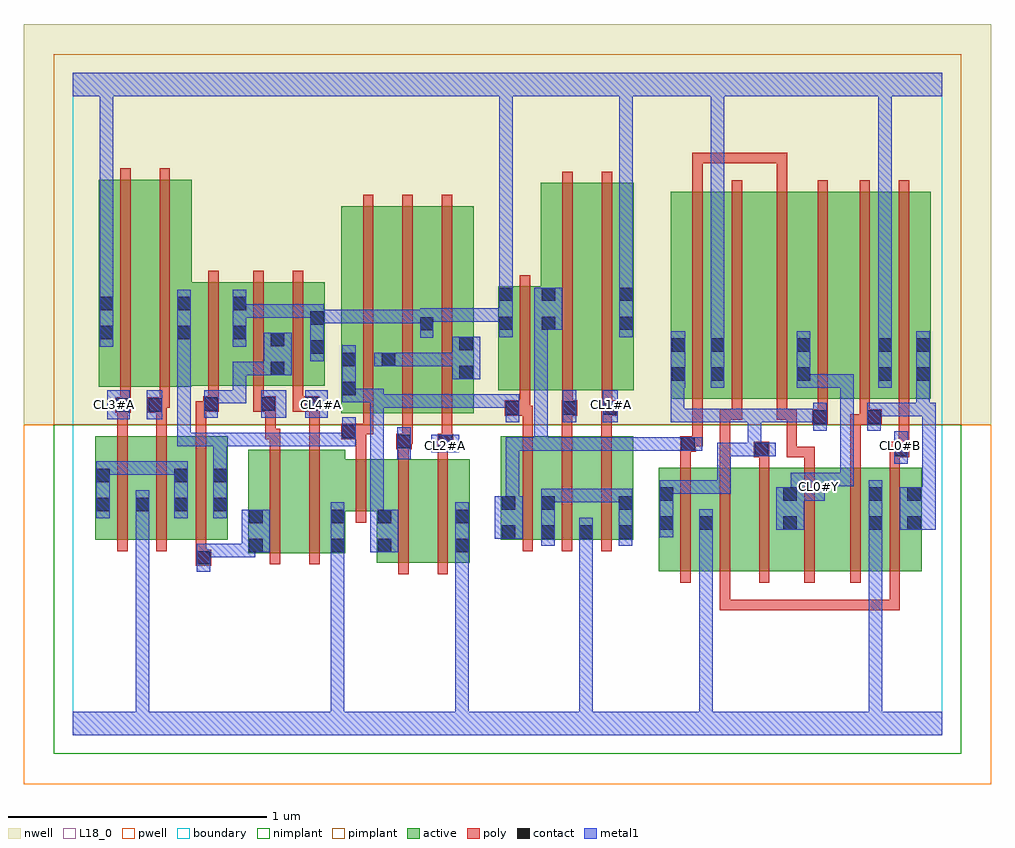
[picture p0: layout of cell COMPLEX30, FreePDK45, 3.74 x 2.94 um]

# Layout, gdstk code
import gdstk
lib = gdstk.Library(unit=1e-6, precision=1e-09)
def R(c, l, rs):  # rectangles x0, y0, x1, y1
    for r in rs: c.add(gdstk.rectangle(r[:2], r[2:], *l))
def A(c, l, x, y, w, h, nx, ny, dx, dy):  # array of equal rectangles
    R(c, l, [(x+i*dx, y+j*dy, x+i*dx+w, y+j*dy+h) for i in range(nx) for j in range(ny)])
active = (1, 0)
pwell = (2, 0)
nwell = (3, 0)
nimplant = (4, 0)
pimplant = (5, 0)
poly = (9, 0)
contact = (10, 0)
metal1 = (11, 0)
L18_0 = (18, 0)
boundary = (235, 0)

complex30 = lib.new_cell('COMPLEX30')
R(complex30, active, [(2.264,0.634,2.476,1.034), (2.416,0.634,2.596,1.034), (2.596,0.634,2.802,1.034), (2.742,0.634,2.948,1.034), (2.948,0.634,3.132,1.034), (3.072,0.634,3.28,1.034), (3.072,0.634,3.132,0.962), (3.22,0.634,3.28,1.034), (1.174,0.666,1.354,1.066), (1.354,0.666,1.534,1.066), (0.678,0.704,0.738,1.104), (0.678,0.704,0.858,1.104), (0.858,0.704,1.054,1.104), (0.994,0.704,1.054,0.876), (1.174,0.704,1.234,0.876), (1.474,0.704,1.534,1.066), (0.088,0.756,0.148,1.156), (0.088,0.756,0.3,1.156), (0.24,0.756,0.3,1.156), (0.24,0.756,0.448,1.156), (0.388,0.756,0.448,1.156), (0.388,0.756,0.6,1.156), (0.54,0.756,0.6,1.156), (1.654,0.756,1.714,1.156), (1.654,0.756,1.866,1.156), (1.806,0.756,2.014,1.156), (1.806,0.756,1.866,0.928), (1.954,0.756,2.014,1.156), (1.954,0.756,2.166,1.156), (2.106,0.756,2.166,1.156), (2.264,0.756,2.324,1.034), (2.416,0.756,2.476,0.85), (2.742,0.756,2.802,0.962), (0.994,0.866,1.234,1.066), (1.038,1.244,1.25,2.044), (1.038,1.244,1.098,2.044), (1.19,1.244,1.398,2.044), (1.19,1.244,1.25,2.044), (1.338,1.244,1.55,2.044), (1.338,1.244,1.398,2.044), (1.49,1.244,1.55,2.044), (2.31,1.3,2.37,2.044), (2.31,1.3,2.522,2.1), (2.462,1.3,2.522,2.044), (2.462,1.3,2.642,2.1), (2.642,1.3,2.854,2.1), (2.794,1.3,2.854,2.044), (2.794,1.3,2.984,2.1), (2.984,1.3,3.168,2.1), (3.108,1.3,3.168,2.044), (3.108,1.3,3.316,2.1), (3.256,1.3,3.316,2.044), (1.644,1.334,1.704,1.734), (1.644,1.334,1.868,1.734), (1.808,1.334,1.868,1.734), (1.808,1.334,1.988,2.134), (1.988,1.334,2.168,2.134), (2.108,1.334,2.168,2.044), (0.1,1.346,0.28,2.146), (0.1,1.346,0.16,2.044), (0.28,1.346,0.46,2.146), (0.4,1.35,0.674,1.75), (0.614,1.35,0.822,1.75), (0.614,1.35,0.674,1.698), (0.762,1.35,0.974,1.75), (0.914,1.35,0.974,1.644), (0.762,1.388,0.822,1.644), (0.4,1.526,0.46,1.698)])
R(complex30, pwell, [(-0.188,-0.188,3.548,1.2)])
R(complex30, nwell, [(-0.188,1.2,3.548,2.748)])
R(complex30, nimplant, [(-0.072,-0.072,3.432,1.2)])
R(complex30, pimplant, [(-0.072,1.2,3.432,2.632)])
A(complex30, poly, 2.348, 0.59, 0.04, 0.488, 3, 1, 0.152, 0)
A(complex30, poly, 0.172, 0.712, 0.04, 0.488, 3, 1, 0.152, 0)
A(complex30, poly, 1.738, 0.712, 0.04, 0.488, 3, 1, 0.152, 0)
A(complex30, poly, 1.738, 1.16, 0.04, 0.114, 3, 1, 0.152, 0)
A(complex30, poly, 1.122, 1.2, 0.04, 0.888, 3, 1, 0.152, 0)
R(complex30, poly, [(2.5,0.484,2.54,0.524), (2.5,0.484,2.54,0.524), (2.5,0.484,2.54,0.524), (2.5,0.484,2.54,0.63), (2.5,0.484,2.692,0.524), (2.652,0.484,2.692,0.524), (2.652,0.484,2.692,0.524), (2.652,0.484,2.692,0.524), (2.652,0.484,2.904,0.524), (2.864,0.484,2.904,0.524), (2.864,0.484,2.904,0.524), (2.864,0.484,2.904,0.524), (2.864,0.484,3.01,0.524), (2.97,0.484,3.01,0.524), (2.97,0.484,3.196,0.524), (3.156,0.484,3.196,0.524), (3.156,0.484,3.196,0.524), (3.156,0.484,3.196,0.524), (3.156,0.484,3.196,0.63), (2.826,0.59,2.866,1.078), (3.004,0.59,3.044,1.078), (3.156,0.59,3.196,1.078), (1.258,0.622,1.298,1.11), (1.41,0.622,1.45,1.11), (0.476,0.656,0.536,0.716), (0.762,0.66,0.802,1.148), (0.914,0.66,0.954,1.148), (0.476,0.676,0.516,0.752), (1.094,0.822,1.134,1.11), (2.348,1.038,2.388,1.136), (2.5,1.038,2.54,1.26), (2.652,1.038,2.692,1.114), (2.826,1.038,2.866,1.114), (3.004,1.038,3.044,1.24), (3.156,1.038,3.196,1.114), (1.094,1.07,1.134,1.184), (1.258,1.07,1.298,1.146), (1.41,1.07,1.45,1.146), (2.632,1.074,2.692,1.134), (2.758,1.074,2.798,1.114), (2.758,1.074,2.866,1.114), (2.758,1.074,2.798,1.26), (2.826,1.074,2.866,1.114), (3.156,1.074,3.232,1.134), (3.192,1.094,3.232,1.296), (3.192,1.094,3.232,1.134), (3.192,1.094,3.232,1.134), (2.348,1.096,2.408,1.156), (1.25,1.106,1.31,1.166), (1.41,1.106,1.47,1.166), (0.762,1.108,0.802,1.184), (0.914,1.108,0.954,1.29), (2.368,1.116,2.408,1.156), (2.368,1.116,2.434,1.156), (2.394,1.116,2.434,1.296), (1.27,1.126,1.31,1.166), (1.27,1.126,1.314,1.166), (1.274,1.126,1.314,1.24), (1.426,1.126,1.466,1.166), (1.426,1.126,1.466,1.166), (1.426,1.126,1.466,1.24), (0.744,1.144,0.784,1.29), (0.744,1.144,0.802,1.184), (1.038,1.144,1.134,1.204), (0.172,1.16,0.212,1.286), (0.324,1.16,0.364,1.286), (0.476,1.16,0.516,1.29), (1.094,1.164,1.134,1.204), (1.094,1.164,1.162,1.204), (1.122,1.164,1.162,1.24), (2.858,1.2,2.918,1.26), (3.004,1.2,3.08,1.24), (3.04,1.2,3.08,1.24), (3.04,1.2,3.126,1.26), (2.5,1.22,2.566,1.26), (2.526,1.22,2.566,1.26), (2.526,1.22,2.586,1.26), (2.546,1.22,2.586,1.296), (2.72,1.22,2.76,1.26), (2.72,1.22,2.76,1.296), (2.72,1.22,2.798,1.26), (2.758,1.22,2.798,1.26), (2.878,1.22,2.918,1.296), (3.04,1.22,3.08,1.296), (1.67,1.234,1.768,1.294), (1.728,1.234,1.768,1.274), (1.728,1.234,1.778,1.274), (1.89,1.234,1.93,1.274), (1.89,1.234,1.93,1.274), (1.89,1.234,1.95,1.294), (2.042,1.234,2.084,1.274), (2.044,1.234,2.084,1.274), (2.044,1.234,2.104,1.294), (0.164,1.246,0.224,1.306), (0.29,1.246,0.364,1.306), (0.476,1.25,0.544,1.29), (0.504,1.25,0.544,1.29), (0.504,1.25,0.564,1.31), (0.698,1.25,0.784,1.31), (0.85,1.25,0.954,1.31), (0.914,1.25,0.954,1.29), (0.914,1.25,0.954,1.29), (1.728,1.254,1.768,1.33), (1.892,1.254,1.932,1.33), (2.044,1.254,2.084,1.33), (2.394,1.256,2.434,2.144), (2.546,1.256,2.586,2.144), (2.72,1.256,2.76,2.144), (2.878,1.256,2.918,2.144), (3.04,1.256,3.08,2.144), (3.192,1.256,3.232,2.144), (0.184,1.266,0.224,1.306), (0.184,1.266,0.224,1.306), (0.184,1.266,0.224,1.342), (0.324,1.266,0.364,1.306), (0.324,1.266,0.376,1.306), (0.336,1.266,0.376,1.342), (0.524,1.27,0.564,1.346), (0.698,1.27,0.738,1.346), (0.85,1.27,0.89,1.346), (1.728,1.29,1.768,1.778), (1.892,1.29,1.932,2.178), (2.044,1.29,2.084,2.178), (0.184,1.302,0.224,2.19), (0.336,1.302,0.376,2.19), (0.524,1.306,0.564,1.794), (0.698,1.306,0.738,1.794), (0.85,1.306,0.89,1.794), (2.394,2.104,2.434,2.25), (2.72,2.104,2.76,2.25), (2.394,2.21,2.434,2.25), (2.394,2.21,2.434,2.25), (2.394,2.21,2.434,2.25), (2.394,2.21,2.54,2.25), (2.5,2.21,2.54,2.25), (2.5,2.21,2.54,2.25), (2.5,2.21,2.54,2.25), (2.5,2.21,2.76,2.25), (2.72,2.21,2.76,2.25)])
R(complex30, contact, [(0.48,0.66,0.532,0.712), (0.682,0.708,0.734,0.76), (0.998,0.708,1.05,0.76), (1.178,0.708,1.23,0.76), (1.478,0.708,1.53,0.76), (1.658,0.76,1.71,0.812), (1.81,0.76,1.862,0.812), (1.958,0.76,2.01,0.812), (2.11,0.76,2.162,0.812), (2.268,0.794,2.32,0.846), (2.42,0.794,2.472,0.846), (2.746,0.794,2.798,0.846), (3.076,0.794,3.128,0.846), (3.224,0.794,3.276,0.846), (0.682,0.82,0.734,0.872), (0.998,0.82,1.05,0.872), (1.178,0.82,1.23,0.872), (1.478,0.82,1.53,0.872), (0.092,0.866,0.144,0.918), (0.244,0.866,0.296,0.918), (0.392,0.866,0.444,0.918), (0.544,0.866,0.596,0.918), (1.658,0.872,1.71,0.924), (1.81,0.872,1.862,0.924), (2.11,0.872,2.162,0.924), (2.268,0.906,2.32,0.958), (2.746,0.906,2.798,0.958), (3.076,0.906,3.128,0.958), (3.224,0.906,3.276,0.958), (0.092,0.978,0.144,1.03), (0.392,0.978,0.444,1.03), (0.544,0.978,0.596,1.03), (2.636,1.078,2.688,1.13), (3.174,1.078,3.226,1.13), (2.352,1.1,2.404,1.152), (1.254,1.11,1.306,1.162), (1.414,1.11,1.466,1.162), (1.042,1.148,1.094,1.2), (2.862,1.204,2.914,1.256), (3.07,1.204,3.122,1.256), (1.674,1.238,1.726,1.29), (1.894,1.238,1.946,1.29), (2.048,1.238,2.1,1.29), (0.168,1.25,0.22,1.302), (0.294,1.25,0.346,1.302), (0.508,1.254,0.56,1.306), (0.728,1.254,0.78,1.306), (0.898,1.254,0.95,1.306), (1.042,1.314,1.094,1.366), (2.314,1.37,2.366,1.422), (2.466,1.37,2.518,1.422), (2.798,1.37,2.85,1.422), (3.112,1.37,3.164,1.422), (3.26,1.37,3.312,1.422), (1.494,1.376,1.546,1.428), (0.766,1.392,0.818,1.444), (1.042,1.426,1.094,1.478), (1.194,1.426,1.246,1.478), (0.918,1.474,0.97,1.526), (2.314,1.482,2.366,1.534), (2.466,1.482,2.518,1.534), (2.798,1.482,2.85,1.534), (3.112,1.482,3.164,1.534), (3.26,1.482,3.312,1.534), (1.494,1.488,1.546,1.54), (0.766,1.504,0.818,1.556), (0.104,1.53,0.156,1.582), (0.404,1.53,0.456,1.582), (0.618,1.53,0.67,1.582), (1.342,1.564,1.394,1.616), (1.648,1.566,1.7,1.618), (1.812,1.566,1.864,1.618), (2.112,1.566,2.164,1.618), (0.918,1.586,0.97,1.638), (0.104,1.642,0.156,1.694), (0.404,1.642,0.456,1.694), (0.618,1.642,0.67,1.694), (1.648,1.678,1.7,1.73), (1.812,1.678,1.864,1.73), (2.112,1.678,2.164,1.73)])
R(complex30, metal1, [(0,0,3.36,0.092), (0.244,0.04,0.296,0.092), (0.244,0.04,0.296,0.092), (0.244,0.04,0.296,0.092), (0.244,0.04,0.296,0.092), (0.244,0.04,0.296,0.092), (0.244,0.04,0.296,0.092), (0.244,0.04,0.296,0.092), (0.244,0.04,0.296,0.092), (0.244,0.04,0.296,0.092), (0.244,0.04,0.296,0.092), (0.244,0.04,0.296,0.89), (0.998,0.04,1.05,0.092), (0.998,0.04,1.05,0.092), (0.998,0.04,1.05,0.092), (0.998,0.04,1.05,0.092), (0.998,0.04,1.05,0.092), (0.998,0.04,1.05,0.092), (0.998,0.04,1.05,0.092), (0.998,0.04,1.05,0.092), (0.998,0.04,1.05,0.732), (1.478,0.04,1.53,0.092), (1.478,0.04,1.53,0.092), (1.478,0.04,1.53,0.092), (1.478,0.04,1.53,0.092), (1.478,0.04,1.53,0.092), (1.478,0.04,1.53,0.092), (1.478,0.04,1.53,0.092), (1.478,0.04,1.53,0.092), (1.478,0.04,1.53,0.732), (1.958,0.04,2.01,0.092), (1.958,0.04,2.01,0.092), (1.958,0.04,2.01,0.092), (1.958,0.04,2.01,0.092), (1.958,0.04,2.01,0.784), (2.42,0.04,2.472,0.092), (2.42,0.04,2.472,0.092), (2.42,0.04,2.472,0.092), (2.42,0.04,2.472,0.092), (2.42,0.04,2.472,0.092), (2.42,0.04,2.472,0.092), (2.42,0.04,2.472,0.818), (3.076,0.04,3.128,0.092), (3.076,0.04,3.128,0.092), (3.076,0.04,3.128,0.818), (0.48,0.632,0.532,0.74), (0.998,0.68,1.05,0.9), (0.998,0.68,1.05,0.732), (0.998,0.68,1.05,0.732), (0.998,0.68,1.05,0.732), (0.998,0.68,1.05,0.732), (1.478,0.68,1.53,0.9), (1.478,0.68,1.53,0.732), (1.478,0.68,1.53,0.732), (1.478,0.68,1.53,0.732), (1.478,0.68,1.53,0.732), (0.48,0.688,0.67,0.74), (0.618,0.688,0.67,0.74), (0.618,0.688,0.706,0.74), (0.654,0.688,0.706,0.74), (0.654,0.688,0.706,0.76), (0.654,0.708,0.762,0.872), (1.15,0.708,1.258,0.872), (1.81,0.732,1.862,0.952), (1.958,0.732,2.01,0.784), (1.958,0.732,2.01,0.784), (1.958,0.732,2.01,0.784), (1.958,0.732,2.01,0.784), (1.958,0.732,2.01,0.784), (1.958,0.732,2.01,0.784), (1.958,0.732,2.01,0.784), (1.958,0.732,2.01,0.784), (1.958,0.732,2.01,0.84), (2.11,0.732,2.162,0.952), (1.63,0.76,1.738,0.924), (2.268,0.766,2.32,0.986), (2.42,0.766,2.472,0.818), (2.42,0.766,2.472,0.818), (2.42,0.766,2.472,0.818), (2.42,0.766,2.472,0.818), (2.42,0.766,2.472,0.818), (2.42,0.766,2.472,0.818), (2.42,0.766,2.472,0.874), (3.076,0.766,3.128,0.986), (3.076,0.766,3.128,0.818), (3.076,0.766,3.128,0.818), (3.076,0.766,3.128,0.818), (3.076,0.766,3.128,0.818), (3.076,0.766,3.128,0.818), (3.076,0.766,3.128,0.818), (3.076,0.766,3.128,0.818), (3.076,0.766,3.128,0.818), (3.076,0.766,3.128,0.818), (3.076,0.766,3.128,0.818), (2.718,0.794,2.826,0.958), (3.196,0.794,3.334,0.958), (1.15,0.82,1.202,1.318), (0.092,0.838,0.144,1.058), (0.244,0.838,0.296,0.89), (0.244,0.838,0.296,0.89), (0.244,0.838,0.296,0.946), (0.392,0.838,0.444,1.058), (0.544,0.838,0.596,1.058), (1.674,0.872,1.726,1.152), (1.81,0.9,1.862,0.952), (1.81,0.9,1.862,0.952), (1.81,0.9,1.972,0.952), (1.92,0.9,1.972,0.952), (1.92,0.9,2.162,0.952), (2.11,0.9,2.162,0.952), (2.11,0.9,2.162,0.952), (2.774,0.906,2.826,0.958), (2.774,0.906,2.906,1.014), (3.282,0.906,3.334,1.284), (3.282,0.906,3.334,0.958), (3.282,0.906,3.334,0.958), (2.268,0.934,2.32,0.986), (2.268,0.934,2.32,0.986), (2.268,0.934,2.542,0.986), (2.49,0.934,2.542,0.986), (2.49,0.934,2.542,1.13), (2.854,0.962,2.906,1.014), (2.854,0.962,2.906,1.014), (2.854,0.962,3.018,1.014), (2.966,0.962,3.018,1.014), (2.966,0.962,3.018,1.014), (2.966,0.962,3.018,1.014), (2.966,0.962,3.018,1.394), (0.092,1.006,0.144,1.058), (0.092,1.006,0.144,1.058), (0.092,1.006,0.334,1.058), (0.282,1.006,0.334,1.058), (0.282,1.006,0.334,1.058), (0.282,1.006,0.334,1.058), (0.282,1.006,0.444,1.058), (0.544,1.006,0.596,1.168), (3.174,1.05,3.226,1.174), (1.254,1.066,1.306,1.19), (2.49,1.078,2.542,1.13), (2.49,1.078,2.542,1.13), (2.49,1.078,2.542,1.13), (2.49,1.078,2.66,1.13), (2.608,1.078,2.66,1.13), (2.608,1.078,2.66,1.13), (2.608,1.078,2.716,1.13), (2.608,1.078,2.66,1.262), (1.386,1.094,1.494,1.162), (1.674,1.1,1.726,1.152), (1.674,1.1,1.726,1.152), (1.674,1.1,1.726,1.152), (1.674,1.1,1.836,1.152), (1.784,1.1,1.836,1.152), (1.784,1.1,1.972,1.152), (1.784,1.1,1.836,1.618), (1.92,1.1,1.972,1.152), (1.92,1.1,1.972,1.152), (1.92,1.1,1.972,1.152), (1.92,1.1,2.152,1.152), (2.1,1.1,2.152,1.152), (2.1,1.1,2.152,1.152), (2.1,1.1,2.152,1.152), (2.1,1.1,2.272,1.152), (2.22,1.1,2.272,1.152), (2.22,1.1,2.376,1.152), (2.324,1.1,2.432,1.152), (0.404,1.116,0.456,1.168), (0.404,1.116,0.456,1.168), (0.404,1.116,0.456,1.168), (0.404,1.116,0.456,1.168), (0.404,1.116,0.456,1.168), (0.404,1.116,0.596,1.168), (0.404,1.116,0.456,1.554), (0.544,1.116,0.596,1.168), (0.544,1.116,0.68,1.168), (0.628,1.116,0.68,1.168), (0.628,1.116,0.84,1.168), (0.788,1.116,0.84,1.168), (0.788,1.116,0.86,1.168), (0.808,1.116,0.86,1.168), (0.808,1.116,0.97,1.168), (0.918,1.116,0.97,1.168), (0.918,1.116,0.97,1.168), (0.918,1.116,0.97,1.168), (0.918,1.116,1.092,1.168), (1.04,1.116,1.092,1.172), (1.04,1.12,1.094,1.172), (1.042,1.12,1.094,1.228), (2.862,1.176,2.914,1.284), (3.07,1.176,3.122,1.284), (1.674,1.21,1.726,1.318), (1.894,1.21,1.946,1.334), (2.048,1.21,2.106,1.334), (2.31,1.21,2.362,1.262), (2.31,1.21,2.362,1.262), (2.31,1.21,2.362,1.262), (2.31,1.21,2.362,1.394), (2.31,1.21,2.542,1.262), (2.49,1.21,2.542,1.262), (2.49,1.21,2.542,1.262), (2.49,1.21,2.542,1.262), (2.49,1.21,2.66,1.262), (2.608,1.21,2.66,1.262), (2.608,1.21,2.66,1.262), (2.608,1.21,2.66,1.262), (2.608,1.21,2.77,1.262), (2.718,1.21,2.77,1.262), (2.718,1.21,2.914,1.262), (0.134,1.222,0.22,1.334), (0.286,1.222,0.346,1.334), (0.508,1.226,0.56,1.334), (0.728,1.226,0.826,1.334), (0.898,1.226,0.986,1.334), (3.07,1.232,3.138,1.284), (3.086,1.232,3.138,1.284), (3.086,1.232,3.312,1.284), (3.26,1.232,3.312,1.394), (3.26,1.232,3.312,1.284), (3.26,1.232,3.312,1.284), (3.26,1.232,3.334,1.284), (1.15,1.266,1.202,1.318), (1.15,1.266,1.202,1.318), (1.15,1.266,1.284,1.318), (1.15,1.266,1.202,1.338), (1.232,1.266,1.284,1.318), (1.232,1.266,1.408,1.318), (1.356,1.266,1.408,1.318), (1.356,1.266,1.572,1.318), (1.52,1.266,1.572,1.318), (1.52,1.266,1.572,1.318), (1.52,1.266,1.572,1.318), (1.52,1.266,1.726,1.318), (1.674,1.266,1.726,1.318), (1.674,1.266,1.726,1.318), (0.508,1.282,0.67,1.334), (0.618,1.282,0.67,1.444), (0.618,1.282,0.67,1.334), (0.618,1.282,0.67,1.334), (0.618,1.282,0.67,1.334), (1.042,1.286,1.094,1.506), (1.042,1.286,1.094,1.338), (1.042,1.286,1.094,1.338), (1.042,1.286,1.096,1.338), (1.044,1.286,1.096,1.338), (1.044,1.286,1.202,1.338), (2.31,1.342,2.366,1.562), (2.466,1.342,2.518,1.562), (2.798,1.342,2.85,1.562), (2.798,1.342,2.85,1.394), (2.798,1.342,2.85,1.394), (2.798,1.342,3.018,1.394), (2.966,1.342,3.018,1.394), (3.112,1.342,3.164,1.562), (3.26,1.342,3.312,1.562), (1.466,1.376,1.574,1.54), (0.618,1.392,0.67,1.444), (0.618,1.392,0.79,1.444), (0.738,1.392,0.79,1.444), (0.738,1.392,0.79,1.444), (0.738,1.392,0.846,1.556), (1.166,1.426,1.274,1.478), (1.222,1.426,1.274,1.478), (1.222,1.426,1.274,1.478), (1.222,1.426,1.394,1.478), (1.342,1.426,1.394,1.478), (1.342,1.426,1.394,1.478), (1.342,1.426,1.394,1.478), (1.342,1.426,1.518,1.478), (0.918,1.446,0.97,1.666), (0.104,1.502,0.156,1.722), (0.404,1.502,0.456,1.722), (0.618,1.502,0.67,1.722), (2.466,1.51,2.518,1.562), (2.466,1.51,2.518,1.562), (2.466,1.51,2.518,1.562), (2.466,1.51,2.518,1.562), (2.466,1.51,2.518,1.562), (2.466,1.51,2.518,1.562), (2.466,1.51,2.518,1.562), (2.466,1.51,2.518,1.562), (2.466,1.51,2.518,2.52), (3.112,1.51,3.164,1.562), (3.112,1.51,3.164,1.562), (3.112,1.51,3.164,1.562), (3.112,1.51,3.164,1.562), (3.112,1.51,3.164,1.562), (3.112,1.51,3.164,1.562), (3.112,1.51,3.164,1.562), (3.112,1.51,3.164,1.562), (3.112,1.51,3.164,2.52), (1.342,1.536,1.394,1.644), (1.648,1.538,1.7,1.758), (2.112,1.538,2.164,1.758), (1.784,1.566,1.836,1.618), (1.784,1.566,1.836,1.618), (1.784,1.566,1.892,1.73), (0.918,1.592,1.092,1.644), (1.04,1.592,1.092,1.644), (1.04,1.592,1.14,1.644), (1.088,1.592,1.14,1.644), (1.088,1.592,1.25,1.644), (1.198,1.592,1.25,1.644), (1.198,1.592,1.25,1.644), (1.198,1.592,1.25,1.644), (1.198,1.592,1.394,1.644), (1.342,1.592,1.394,1.644), (1.342,1.592,1.394,1.65), (1.342,1.598,1.616,1.65), (1.564,1.598,1.616,1.65), (1.564,1.598,1.7,1.65), (0.618,1.614,0.84,1.666), (0.788,1.614,0.84,1.666), (0.788,1.614,0.84,1.666), (0.788,1.614,0.84,1.666), (0.788,1.614,0.97,1.666), (0.918,1.614,0.97,1.666), (0.918,1.614,0.97,1.666), (0.104,1.67,0.156,1.722), (0.104,1.67,0.156,1.722), (0.104,1.67,0.156,1.722), (0.104,1.67,0.156,1.722), (0.104,1.67,0.156,1.722), (0.104,1.67,0.156,1.722), (0.104,1.67,0.156,1.722), (0.104,1.67,0.156,1.722), (0.104,1.67,0.156,2.52), (1.648,1.706,1.7,1.758), (1.648,1.706,1.7,1.758), (1.648,1.706,1.7,1.758), (1.648,1.706,1.7,1.758), (1.648,1.706,1.7,1.758), (1.648,1.706,1.7,1.758), (1.648,1.706,1.7,1.758), (1.648,1.706,1.7,1.758), (1.648,1.706,1.7,1.758), (1.648,1.706,1.7,1.758), (1.648,1.706,1.7,1.758), (1.648,1.706,1.7,1.758), (1.648,1.706,1.7,2.52), (2.112,1.706,2.164,1.758), (2.112,1.706,2.164,1.758), (2.112,1.706,2.164,1.758), (2.112,1.706,2.164,1.758), (2.112,1.706,2.164,1.758), (2.112,1.706,2.164,1.758), (2.112,1.706,2.164,1.758), (2.112,1.706,2.164,1.758), (2.112,1.706,2.164,2.52), (0,2.468,3.36,2.56), (1.648,2.468,1.7,2.52), (1.648,2.468,1.7,2.52), (1.648,2.468,1.7,2.52), (1.648,2.468,1.7,2.52)])
R(complex30, L18_0, [(0,0,3.36,0.092), (0.244,0.04,0.296,0.092), (0.244,0.04,0.296,0.092), (0.244,0.04,0.296,0.092), (0.244,0.04,0.296,0.092), (0.244,0.04,0.296,0.092), (0.244,0.04,0.296,0.092), (0.244,0.04,0.296,0.092), (0.244,0.04,0.296,0.092), (0.244,0.04,0.296,0.092), (0.244,0.04,0.296,0.092), (0.244,0.04,0.296,0.89), (0.998,0.04,1.05,0.092), (0.998,0.04,1.05,0.092), (0.998,0.04,1.05,0.092), (0.998,0.04,1.05,0.092), (0.998,0.04,1.05,0.092), (0.998,0.04,1.05,0.092), (0.998,0.04,1.05,0.092), (0.998,0.04,1.05,0.092), (0.998,0.04,1.05,0.732), (1.478,0.04,1.53,0.092), (1.478,0.04,1.53,0.092), (1.478,0.04,1.53,0.092), (1.478,0.04,1.53,0.092), (1.478,0.04,1.53,0.092), (1.478,0.04,1.53,0.092), (1.478,0.04,1.53,0.092), (1.478,0.04,1.53,0.092), (1.478,0.04,1.53,0.732), (1.958,0.04,2.01,0.092), (1.958,0.04,2.01,0.092), (1.958,0.04,2.01,0.092), (1.958,0.04,2.01,0.092), (1.958,0.04,2.01,0.784), (2.42,0.04,2.472,0.092), (2.42,0.04,2.472,0.092), (2.42,0.04,2.472,0.092), (2.42,0.04,2.472,0.092), (2.42,0.04,2.472,0.092), (2.42,0.04,2.472,0.092), (2.42,0.04,2.472,0.818), (3.076,0.04,3.128,0.092), (3.076,0.04,3.128,0.092), (3.076,0.04,3.128,0.818), (0.998,0.68,1.05,0.9), (0.998,0.68,1.05,0.732), (0.998,0.68,1.05,0.732), (0.998,0.68,1.05,0.732), (0.998,0.68,1.05,0.732), (1.478,0.68,1.53,0.9), (1.478,0.68,1.53,0.732), (1.478,0.68,1.53,0.732), (1.478,0.68,1.53,0.732), (1.478,0.68,1.53,0.732), (1.958,0.732,2.01,0.784), (1.958,0.732,2.01,0.784), (1.958,0.732,2.01,0.784), (1.958,0.732,2.01,0.784), (1.958,0.732,2.01,0.784), (1.958,0.732,2.01,0.784), (1.958,0.732,2.01,0.784), (1.958,0.732,2.01,0.784), (1.958,0.732,2.01,0.84), (2.42,0.766,2.472,0.818), (2.42,0.766,2.472,0.818), (2.42,0.766,2.472,0.818), (2.42,0.766,2.472,0.818), (2.42,0.766,2.472,0.818), (2.42,0.766,2.472,0.818), (2.42,0.766,2.472,0.874), (3.076,0.766,3.128,0.986), (3.076,0.766,3.128,0.818), (3.076,0.766,3.128,0.818), (3.076,0.766,3.128,0.818), (3.076,0.766,3.128,0.818), (3.076,0.766,3.128,0.818), (3.076,0.766,3.128,0.818), (3.076,0.766,3.128,0.818), (3.076,0.766,3.128,0.818), (3.076,0.766,3.128,0.818), (3.076,0.766,3.128,0.818), (2.718,0.794,2.826,0.958), (0.244,0.838,0.296,0.89), (0.244,0.838,0.296,0.89), (0.244,0.838,0.296,0.946), (2.774,0.906,2.826,0.958), (2.774,0.906,2.906,1.014), (2.854,0.934,2.906,0.986), (2.854,0.962,2.906,1.014), (2.854,0.962,2.906,1.014), (2.854,0.962,3.018,1.014), (2.966,0.962,3.018,1.014), (2.966,0.962,3.018,1.014), (2.966,0.962,3.018,1.014), (2.966,0.962,3.018,1.394), (3.174,1.05,3.226,1.174), (1.254,1.066,1.306,1.19), (1.254,1.094,1.306,1.146), (1.386,1.094,1.494,1.162), (1.414,1.094,1.466,1.146), (3.174,1.094,3.226,1.146), (1.894,1.21,1.946,1.334), (2.048,1.21,2.106,1.334), (0.134,1.222,0.22,1.334), (0.286,1.222,0.346,1.334), (0.728,1.226,0.826,1.334), (0.898,1.226,0.986,1.334), (0.134,1.254,0.186,1.306), (0.294,1.254,0.346,1.306), (0.774,1.254,0.826,1.306), (0.934,1.254,0.986,1.306), (1.894,1.254,1.946,1.306), (2.054,1.254,2.106,1.306), (2.466,1.342,2.518,1.562), (2.798,1.342,2.85,1.562), (2.798,1.342,2.85,1.394), (2.798,1.342,2.85,1.394), (2.798,1.342,3.018,1.394), (2.966,1.342,3.018,1.394), (3.112,1.342,3.164,1.562), (0.918,1.446,0.97,1.666), (0.104,1.502,0.156,1.722), (0.618,1.502,0.67,1.722), (2.466,1.51,2.518,1.562), (2.466,1.51,2.518,1.562), (2.466,1.51,2.518,1.562), (2.466,1.51,2.518,1.562), (2.466,1.51,2.518,1.562), (2.466,1.51,2.518,1.562), (2.466,1.51,2.518,1.562), (2.466,1.51,2.518,1.562), (2.466,1.51,2.518,2.52), (3.112,1.51,3.164,1.562), (3.112,1.51,3.164,1.562), (3.112,1.51,3.164,1.562), (3.112,1.51,3.164,1.562), (3.112,1.51,3.164,1.562), (3.112,1.51,3.164,1.562), (3.112,1.51,3.164,1.562), (3.112,1.51,3.164,1.562), (3.112,1.51,3.164,2.52), (1.342,1.536,1.394,1.644), (1.648,1.538,1.7,1.758), (2.112,1.538,2.164,1.758), (0.918,1.592,1.092,1.644), (1.04,1.592,1.092,1.644), (1.04,1.592,1.14,1.644), (1.088,1.592,1.14,1.644), (1.088,1.592,1.25,1.644), (1.198,1.592,1.25,1.644), (1.198,1.592,1.25,1.644), (1.198,1.592,1.25,1.644), (1.198,1.592,1.394,1.644), (1.342,1.592,1.394,1.644), (1.342,1.592,1.394,1.65), (1.342,1.598,1.616,1.65), (1.564,1.598,1.616,1.65), (1.564,1.598,1.7,1.65), (0.618,1.614,0.84,1.666), (0.788,1.614,0.84,1.666), (0.788,1.614,0.84,1.666), (0.788,1.614,0.84,1.666), (0.788,1.614,0.97,1.666), (0.918,1.614,0.97,1.666), (0.918,1.614,0.97,1.666), (0.104,1.67,0.156,1.722), (0.104,1.67,0.156,1.722), (0.104,1.67,0.156,1.722), (0.104,1.67,0.156,1.722), (0.104,1.67,0.156,1.722), (0.104,1.67,0.156,1.722), (0.104,1.67,0.156,1.722), (0.104,1.67,0.156,1.722), (0.104,1.67,0.156,2.52), (1.648,1.706,1.7,1.758), (1.648,1.706,1.7,1.758), (1.648,1.706,1.7,1.758), (1.648,1.706,1.7,1.758), (1.648,1.706,1.7,1.758), (1.648,1.706,1.7,1.758), (1.648,1.706,1.7,1.758), (1.648,1.706,1.7,1.758), (1.648,1.706,1.7,1.758), (1.648,1.706,1.7,1.758), (1.648,1.706,1.7,1.758), (1.648,1.706,1.7,1.758), (1.648,1.706,1.7,2.52), (2.112,1.706,2.164,1.758), (2.112,1.706,2.164,1.758), (2.112,1.706,2.164,1.758), (2.112,1.706,2.164,1.758), (2.112,1.706,2.164,1.758), (2.112,1.706,2.164,1.758), (2.112,1.706,2.164,1.758), (2.112,1.706,2.164,1.758), (2.112,1.706,2.164,2.52), (0,2.468,3.36,2.56), (1.648,2.468,1.7,2.52), (1.648,2.468,1.7,2.52), (1.648,2.468,1.7,2.52), (1.648,2.468,1.7,2.52)])
R(complex30, boundary, [(0,0,3.36,2.56)])
complex30.add(gdstk.Label('CL0#B', (3.2,1.12), layer=11, texttype=0))
complex30.add(gdstk.Label('CL0#Y', (2.88,0.96), layer=11, texttype=0))
complex30.add(gdstk.Label('CL1#A', (2.08,1.28), layer=11, texttype=0))
complex30.add(gdstk.Label('CL1#B', (1.92,1.28), layer=11, texttype=0))
complex30.add(gdstk.Label('CL2#A', (1.44,1.12), layer=11, texttype=0))
complex30.add(gdstk.Label('CL2#B', (1.28,1.12), layer=11, texttype=0))
complex30.add(gdstk.Label('CL3#A', (0.16,1.28), layer=11, texttype=0))
complex30.add(gdstk.Label('CL3#B', (0.32,1.28), layer=11, texttype=0))
complex30.add(gdstk.Label('CL4#A', (0.96,1.28), layer=11, texttype=0))
complex30.add(gdstk.Label('CL4#B', (0.8,1.28), layer=11, texttype=0))

lib.write_gds('COMPLEX30.gds')
